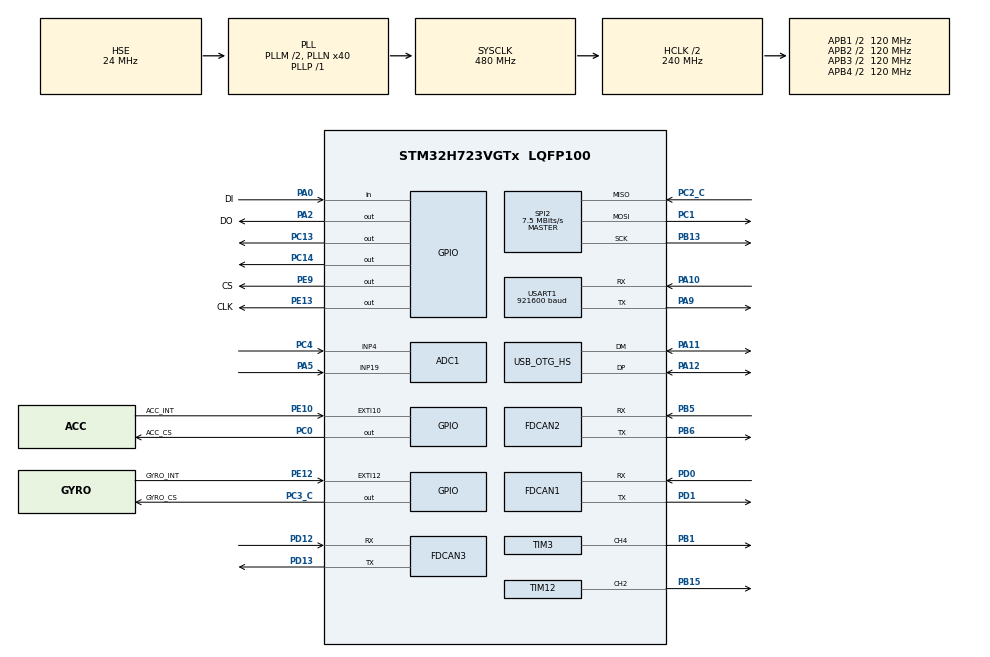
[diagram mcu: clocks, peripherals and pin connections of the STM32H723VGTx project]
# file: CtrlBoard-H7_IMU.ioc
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ADC1.Channel-0\#ChannelRegularConversion=ADC_CHANNEL_4
ADC1.Channel-1\#ChannelRegularConversion=ADC_CHANNEL_4
ADC1.ClockPrescaler=ADC_CLOCK_ASYNC_DIV64
ADC1.ContinuousConvMode=ENABLE
ADC1.ConversionDataManagement=ADC_CONVERSIONDATA_DMA_CIRCULAR
ADC1.NbrOfConversion=2
ADC1.NbrOfConversionFlag=1
ADC1.OffsetNumber-0\#ChannelRegularConversion=ADC_OFFSET_NONE
ADC1.OffsetNumber-1\#ChannelRegularConversion=ADC_OFFSET_NONE
ADC1.OffsetSignedSaturation-0\#ChannelRegularConversion=DISABLE
ADC1.OffsetSignedSaturation-1\#ChannelRegularConversion=DISABLE
ADC1.Rank-0\#ChannelRegularConversion=1
ADC1.Rank-1\#ChannelRegularConversion=2
ADC1.SamplingTime-0\#ChannelRegularConversion=ADC_SAMPLETIME_1CYCLE_5
ADC1.SamplingTime-1\#ChannelRegularConversion=ADC_SAMPLETIME_1CYCLE_5
ADC1.master=1
Dma.ADC1.4.Direction=DMA_PERIPH_TO_MEMORY
Dma.ADC1.4.EventEnable=DISABLE
Dma.ADC1.4.FIFOMode=DMA_FIFOMODE_DISABLE
Dma.ADC1.4.Instance=DMA1_Stream4
Dma.ADC1.4.MemDataAlignment=DMA_MDATAALIGN_HALFWORD
Dma.ADC1.4.MemInc=DMA_MINC_ENABLE
Dma.ADC1.4.Mode=DMA_CIRCULAR
Dma.ADC1.4.PeriphDataAlignment=DMA_PDATAALIGN_HALFWORD
Dma.ADC1.4.PeriphInc=DMA_PINC_DISABLE
Dma.ADC1.4.Polarity=HAL_DMAMUX_REQ_GEN_RISING
Dma.ADC1.4.Priority=DMA_PRIORITY_LOW
Dma.ADC1.4.RequestNumber=1
Dma.ADC1.4.SignalID=NONE
Dma.ADC1.4.SyncEnable=DISABLE
Dma.ADC1.4.SyncPolarity=HAL_DMAMUX_SYNC_NO_EVENT
Dma.ADC1.4.SyncRequestNumber=1
Dma.ADC1.4.SyncSignalID=NONE
Dma.Request0=SPI2_RX
Dma.Request1=SPI2_TX
Dma.Request2=USART1_RX
Dma.Request3=USART1_TX
Dma.Request4=ADC1
Dma.SPI2_RX.0.Direction=DMA_PERIPH_TO_MEMORY
Dma.SPI2_RX.0.EventEnable=DISABLE
Dma.SPI2_RX.0.FIFOMode=DMA_FIFOMODE_DISABLE
Dma.SPI2_RX.0.Instance=DMA1_Stream0
Dma.SPI2_RX.0.MemDataAlignment=DMA_MDATAALIGN_BYTE
Dma.SPI2_RX.0.MemInc=DMA_MINC_ENABLE
Dma.SPI2_RX.0.Mode=DMA_NORMAL
Dma.SPI2_RX.0.PeriphDataAlignment=DMA_PDATAALIGN_BYTE
Dma.SPI2_RX.0.PeriphInc=DMA_PINC_DISABLE
Dma.SPI2_RX.0.Polarity=HAL_DMAMUX_REQ_GEN_RISING
Dma.SPI2_RX.0.Priority=DMA_PRIORITY_VERY_HIGH
Dma.SPI2_RX.0.RequestNumber=1
Dma.SPI2_RX.0.SignalID=NONE
Dma.SPI2_RX.0.SyncEnable=DISABLE
Dma.SPI2_RX.0.SyncPolarity=HAL_DMAMUX_SYNC_NO_EVENT
Dma.SPI2_RX.0.SyncRequestNumber=1
Dma.SPI2_RX.0.SyncSignalID=NONE
Dma.SPI2_TX.1.Direction=DMA_MEMORY_TO_PERIPH
Dma.SPI2_TX.1.EventEnable=DISABLE
Dma.SPI2_TX.1.FIFOMode=DMA_FIFOMODE_DISABLE
Dma.SPI2_TX.1.Instance=DMA1_Stream1
Dma.SPI2_TX.1.MemDataAlignment=DMA_MDATAALIGN_BYTE
Dma.SPI2_TX.1.MemInc=DMA_MINC_ENABLE
Dma.SPI2_TX.1.Mode=DMA_NORMAL
Dma.SPI2_TX.1.PeriphDataAlignment=DMA_PDATAALIGN_BYTE
Dma.SPI2_TX.1.PeriphInc=DMA_PINC_DISABLE
Dma.SPI2_TX.1.Polarity=HAL_DMAMUX_REQ_GEN_RISING
Dma.SPI2_TX.1.Priority=DMA_PRIORITY_HIGH
Dma.SPI2_TX.1.RequestNumber=1
Dma.SPI2_TX.1.SignalID=NONE
Dma.SPI2_TX.1.SyncEnable=DISABLE
Dma.SPI2_TX.1.SyncPolarity=HAL_DMAMUX_SYNC_NO_EVENT
Dma.SPI2_TX.1.SyncRequestNumber=1
Dma.SPI2_TX.1.SyncSignalID=NONE
Dma.USART1_RX.2.Direction=DMA_PERIPH_TO_MEMORY
Dma.USART1_RX.2.EventEnable=DISABLE
Dma.USART1_RX.2.FIFOMode=DMA_FIFOMODE_DISABLE
Dma.USART1_RX.2.Instance=DMA1_Stream2
Dma.USART1_RX.2.MemDataAlignment=DMA_MDATAALIGN_BYTE
Dma.USART1_RX.2.MemInc=DMA_MINC_ENABLE
Dma.USART1_RX.2.Mode=DMA_NORMAL
Dma.USART1_RX.2.PeriphDataAlignment=DMA_PDATAALIGN_BYTE
Dma.USART1_RX.2.PeriphInc=DMA_PINC_DISABLE
Dma.USART1_RX.2.Polarity=HAL_DMAMUX_REQ_GEN_RISING
Dma.USART1_RX.2.Priority=DMA_PRIORITY_LOW
Dma.USART1_RX.2.RequestNumber=1
Dma.USART1_RX.2.SignalID=NONE
Dma.USART1_RX.2.SyncEnable=DISABLE
Dma.USART1_RX.2.SyncPolarity=HAL_DMAMUX_SYNC_NO_EVENT
Dma.USART1_RX.2.SyncRequestNumber=1
Dma.USART1_RX.2.SyncSignalID=NONE
Dma.USART1_TX.3.Direction=DMA_MEMORY_TO_PERIPH
Dma.USART1_TX.3.EventEnable=DISABLE
Dma.USART1_TX.3.FIFOMode=DMA_FIFOMODE_DISABLE
Dma.USART1_TX.3.Instance=DMA1_Stream3
Dma.USART1_TX.3.MemDataAlignment=DMA_MDATAALIGN_BYTE
Dma.USART1_TX.3.MemInc=DMA_MINC_ENABLE
Dma.USART1_TX.3.Mode=DMA_NORMAL
Dma.USART1_TX.3.PeriphDataAlignment=DMA_PDATAALIGN_BYTE
Dma.USART1_TX.3.PeriphInc=DMA_PINC_DISABLE
Dma.USART1_TX.3.Polarity=HAL_DMAMUX_REQ_GEN_RISING
Dma.USART1_TX.3.Priority=DMA_PRIORITY_LOW
Dma.USART1_TX.3.RequestNumber=1
Dma.USART1_TX.3.SignalID=NONE
Dma.USART1_TX.3.SyncEnable=DISABLE
Dma.USART1_TX.3.SyncPolarity=HAL_DMAMUX_SYNC_NO_EVENT
Dma.USART1_TX.3.SyncRequestNumber=1
Dma.USART1_TX.3.SyncSignalID=NONE
FDCAN1.AutoRetransmission=ENABLE
FDCAN1.CalculateBaudRateNominal=1000000
FDCAN1.CalculateTimeBitNominal=1000
FDCAN1.CalculateTimeQuantumNominal=12.5
FDCAN1.DataSyncJumpWidth=2
FDCAN1.DataTimeSeg1=13
FDCAN1.DataTimeSeg2=2
FDCAN1.ExtFiltersNbr=4
FDCAN1.FrameFormat=FDCAN_FRAME_FD_BRS
FDCAN1.NominalPrescaler=1
FDCAN1.NominalSyncJumpWidth=20
FDCAN1.NominalTimeSeg1=59
FDCAN1.NominalTimeSeg2=20
FDCAN1.ProtocolException=ENABLE
FDCAN1.RxFifo0ElmtsNbr=10
FDCAN1.StdFiltersNbr=4
FDCAN1.TxBuffersNbr=1
FDCAN1.TxFifoQueueElmtsNbr=31
FDCAN2.AutoRetransmission=ENABLE
FDCAN2.CalculateBaudRateNominal=1000000
FDCAN2.CalculateTimeBitNominal=1000
FDCAN2.CalculateTimeQuantumNominal=12.5
FDCAN2.DataSyncJumpWidth=2
FDCAN2.DataTimeSeg1=13
FDCAN2.DataTimeSeg2=2
FDCAN2.ExtFiltersNbr=5
FDCAN2.FrameFormat=FDCAN_FRAME_FD_BRS
FDCAN2.MessageRAMOffset=854
FDCAN2.NominalPrescaler=1
FDCAN2.NominalSyncJumpWidth=20
FDCAN2.NominalTimeSeg1=59
FDCAN2.NominalTimeSeg2=20
FDCAN2.ProtocolException=ENABLE
FDCAN2.RxFifo1ElmtsNbr=10
FDCAN2.StdFiltersNbr=5
FDCAN2.TxBuffersNbr=1
FDCAN2.TxFifoQueueElmtsNbr=31
FDCAN3.AutoRetransmission=ENABLE
FDCAN3.CalculateBaudRateNominal=1000000
FDCAN3.CalculateTimeBitNominal=1000
FDCAN3.CalculateTimeQuantumNominal=12.5
FDCAN3.DataPrescaler=1
FDCAN3.DataSyncJumpWidth=2
FDCAN3.DataTimeSeg1=13
FDCAN3.DataTimeSeg2=2
FDCAN3.ExtFiltersNbr=5
FDCAN3.FrameFormat=FDCAN_FRAME_FD_BRS
FDCAN3.MessageRAMOffset=1709
FDCAN3.NominalPrescaler=1
FDCAN3.NominalSyncJumpWidth=20
FDCAN3.NominalTimeSeg1=59
FDCAN3.NominalTimeSeg2=20
FDCAN3.ProtocolException=ENABLE
FDCAN3.RxFifo0ElmtsNbr=10
FDCAN3.StdFiltersNbr=5
FDCAN3.TxBuffersNbr=1
FDCAN3.TxFifoQueueElmtsNbr=31
FREERTOS.MEMORY_ALLOCATION=0
FREERTOS.Tasks01=defaultTask,0,128,StartDefaultTask,Default,NULL,Dynamic,NULL,NULL;CHASSISR_TASK,2,512,ChassisR_Task,Default,NULL,Dynamic,NULL,NULL;CHASSISL_TASK,2,512,ChassisL_Task,Default,NULL,Dynamic,NULL,NULL;CONNECT_TASK,2,512,CONNECT_Task,Default,NULL,Dynamic,NULL,NULL;BODY_TASK,1,512,Body_Task,Default,NULL,Dynamic,NULL,NULL;VBUS_CHECK_TASK,0,128,VBUS_CheckTask,Default,NULL,Dynamic,NULL,NULL
FREERTOS.configENABLE_FPU=1
FREERTOS.configTOTAL_HEAP_SIZE=30720
FREERTOS.configUSE_NEWLIB_REENTRANT=1
Mcu.Family=STM32H7
Mcu.Name=STM32H723VGTx
Mcu.Package=LQFP100
NVIC.DMA1_Stream0_IRQn=true\:6\:0\:true\:false\:true\:true\:false\:true\:true
NVIC.DMA1_Stream1_IRQn=true\:6\:0\:true\:false\:true\:true\:false\:true\:true
NVIC.DMA1_Stream2_IRQn=true\:5\:0\:false\:false\:true\:true\:false\:true\:true
NVIC.DMA1_Stream3_IRQn=true\:5\:0\:false\:false\:true\:true\:false\:true\:true
NVIC.DMA1_Stream4_IRQn=true\:5\:0\:false\:false\:true\:true\:false\:true\:true
NVIC.FDCAN1_IT0_IRQn=true\:5\:0\:false\:false\:true\:true\:true\:true\:true
NVIC.FDCAN2_IT0_IRQn=true\:5\:0\:false\:false\:true\:true\:true\:true\:true
NVIC.FDCAN3_IT0_IRQn=true\:5\:0\:false\:false\:true\:true\:true\:true\:true
NVIC.OTG_HS_IRQn=true\:5\:0\:false\:false\:true\:true\:false\:true\:true
NVIC.PriorityGroup=NVIC_PRIORITYGROUP_4
NVIC.SPI2_IRQn=true\:5\:0\:true\:false\:true\:true\:false\:true\:true
NVIC.TIM2_IRQn=true\:15\:0\:false\:false\:true\:false\:false\:true\:true
NVIC.TimeBase=TIM2_IRQn
NVIC.TimeBaseIP=TIM2
NVIC.USART1_IRQn=true\:7\:0\:true\:false\:true\:true\:true\:true\:true
PA0.GPIO_Label=DI
PA0.GPIO_PuPd=GPIO_PULLUP
PA0.Signal=GPIO_Input
PA10.Mode=Asynchronous
PA10.Signal=USART1_RX
PA11.Mode=Device_Only_FS
PA11.Signal=USB_OTG_HS_DM
PA12.Mode=Device_Only_FS
PA12.Signal=USB_OTG_HS_DP
PA13(JTMS/SWDIO).Mode=Serial_Wire
PA13(JTMS/SWDIO).Signal=DEBUG_JTMS-SWDIO
PA14(JTCK/SWCLK).Mode=Serial_Wire
PA14(JTCK/SWCLK).Signal=DEBUG_JTCK-SWCLK
PA2.GPIO_Label=DO
PA2.GPIO_PuPd=GPIO_PULLUP
PA2.GPIO_Speed=GPIO_SPEED_FREQ_VERY_HIGH
PA2.PinState=GPIO_PIN_SET
PA2.Signal=GPIO_Output
PA5.Signal=ADCx_INP19
PA9.Mode=Asynchronous
PA9.Signal=USART1_TX
PB1.Signal=S_TIM3_CH4
PB13.GPIO_Speed=GPIO_SPEED_FREQ_VERY_HIGH
PB13.Mode=Full_Duplex_Master
PB13.Signal=SPI2_SCK
PB15.Signal=S_TIM12_CH2
PB5.Mode=FDCAN_Activate
PB5.Signal=FDCAN2_RX
PB6.Mode=FDCAN_Activate
PB6.Signal=FDCAN2_TX
PC0.GPIO_Label=ACC_CS
PC0.GPIO_Speed=GPIO_SPEED_FREQ_VERY_HIGH
PC0.PinState=GPIO_PIN_SET
PC0.Signal=GPIO_Output
PC1.GPIO_Speed=GPIO_SPEED_FREQ_VERY_HIGH
PC1.Mode=Full_Duplex_Master
PC1.Signal=SPI2_MOSI
PC13.Signal=GPIO_Output
PC14-OSC32_IN.Signal=GPIO_Output
PC2_C.GPIO_Speed=GPIO_SPEED_FREQ_VERY_HIGH
PC2_C.Mode=Full_Duplex_Master
PC2_C.Signal=SPI2_MISO
PC3_C.GPIO_Label=GYRO_CS
PC3_C.GPIO_Speed=GPIO_SPEED_FREQ_VERY_HIGH
PC3_C.PinState=GPIO_PIN_SET
PC3_C.Signal=GPIO_Output
PC4.Signal=ADCx_INP4
PD0.Mode=FDCAN_Activate
PD0.Signal=FDCAN1_RX
PD1.Mode=FDCAN_Activate
PD1.Signal=FDCAN1_TX
PD12.Mode=FDCAN_Activate
PD12.Signal=FDCAN3_RX
PD13.Mode=FDCAN_Activate
PD13.Signal=FDCAN3_TX
PE10.GPIO_Label=ACC_INT
PE10.Signal=GPXTI10
PE12.GPIO_Label=GYRO_INT
PE12.Signal=GPXTI12
PE13.GPIO_Label=CLK
PE13.GPIO_PuPd=GPIO_PULLUP
PE13.GPIO_Speed=GPIO_SPEED_FREQ_VERY_HIGH
PE13.PinState=GPIO_PIN_SET
PE13.Signal=GPIO_Output
PE9.GPIO_Label=CS
PE9.GPIO_PuPd=GPIO_PULLUP
PE9.GPIO_Speed=GPIO_SPEED_FREQ_VERY_HIGH
PE9.PinState=GPIO_PIN_SET
PE9.Signal=GPIO_Output
PH0-OSC_IN.Mode=HSE-External-Oscillator
PH0-OSC_IN.Signal=RCC_OSC_IN
PH1-OSC_OUT.Mode=HSE-External-Oscillator
PH1-OSC_OUT.Signal=RCC_OSC_OUT
ProjectManager.HeapSize=0x200
ProjectManager.StackSize=0x800
ProjectManager.TargetToolchain=STM32CubeIDE
RCC.ADCCLockSelection=RCC_ADCCLKSOURCE_PLL3
RCC.ADCFreq_Value=100000000
RCC.APB1Freq_Value=120000000
RCC.APB2Freq_Value=120000000
RCC.APB3Freq_Value=120000000
RCC.APB4Freq_Value=120000000
RCC.CortexFreq_Value=480000000
RCC.D1PPRE=RCC_APB3_DIV2
RCC.D2PPRE1=RCC_APB1_DIV2
RCC.D2PPRE2=RCC_APB2_DIV2
RCC.D3PPRE=RCC_APB4_DIV2
RCC.DIVM1=2
RCC.DIVM2=2
RCC.DIVM3=2
RCC.DIVN1=40
RCC.DIVN2=40
RCC.DIVN3=25
RCC.DIVP1=1
RCC.DIVQ2=6
RCC.DIVQ3=1
RCC.DIVR3=3
RCC.FDCANCLockSelection=RCC_FDCANCLKSOURCE_PLL2
RCC.HCLKFreq_Value=240000000
RCC.HPRE=RCC_HCLK_DIV2
RCC.HSE_VALUE=24000000
RCC.PLL2FRACN=0
RCC.PLL3FRACN=0
RCC.PLLFRACN=0
RCC.PLLSourceVirtual=RCC_PLLSOURCE_HSE
RCC.SYSCLKFreq_VALUE=480000000
RCC.SYSCLKSource=RCC_SYSCLKSOURCE_PLLCLK
RCC.USBCLockSelection=RCC_USBCLKSOURCE_HSI48
RCC.USBFreq_Value=48000000
SH.ADCx_INP19.0=ADC1_INP19,IN19-Single-Ended
SH.ADCx_INP4.0=ADC1_INP4,IN4-Single-Ended
SH.S_TIM12_CH2.0=TIM12_CH2,PWM Generation2 CH2
SH.S_TIM3_CH4.0=TIM3_CH4,PWM Generation4 CH4
SPI2.BaudRatePrescaler=SPI_BAUDRATEPRESCALER_32
SPI2.CLKPhase=SPI_PHASE_2EDGE
SPI2.CLKPolarity=SPI_POLARITY_HIGH
SPI2.CalculateBaudRate=7.5 MBits/s
SPI2.DataSize=SPI_DATASIZE_8BIT
SPI2.Direction=SPI_DIRECTION_2LINES
SPI2.Mode=SPI_MODE_MASTER
SPI2.VirtualType=VM_MASTER
STMicroelectronics.X-CUBE-ALGOBUILD.1.4.0.LibraryCcDSPOoLibraryJjDSPOoLibrary=true
TIM12.Channel-PWM\ Generation2\ CH2=TIM_CHANNEL_2
TIM12.Period=2000-1
TIM12.Prescaler=24-1
TIM12.Pulse-PWM\ Generation2\ CH2=1000
TIM3.AutoReloadPreload=TIM_AUTORELOAD_PRELOAD_ENABLE
TIM3.Channel-PWM\ Generation4\ CH4=TIM_CHANNEL_4
TIM3.Period=10000-1
TIM3.Prescaler=24-1
USART1.BaudRate=921600
USART1.VirtualMode-Asynchronous=VM_ASYNC
USB_DEVICE.CLASS_NAME_HS=CDC
USB_DEVICE.VirtualMode=Cdc
USB_DEVICE.VirtualModeHS=Cdc_HS
USB_OTG_HS.VirtualMode-Device_Only_FS=Device_Only_FS
VP_FREERTOS_VS_CMSIS_V1.Mode=CMSIS_V1
VP_MEMORYMAP_VS_MEMORYMAP.Mode=CurAppReg
VP_STMicroelectronics.X-CUBE-ALGOBUILD_VS_DSPOoLibraryJjLibrary_1.4.0_1.4.0.Mode=DSPOoLibraryJjLibrary
VP_SYS_VS_tim2.Mode=TIM2
VP_USB_DEVICE_VS_USB_DEVICE_CDC_HS.Mode=CDC_HS
board=custom

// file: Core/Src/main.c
/* USER CODE BEGIN Header */
/**
 ******************************************************************************
 * @file           : main.c
 * @brief          : Main program body
 ******************************************************************************
 * @attention
 *
 * Copyright (c) 2026 STMicroelectronics.
 * All rights reserved.
 *
 * This software is licensed under terms that can be found in the LICENSE file
 * in the root directory of this software component.
 * If no LICENSE file comes with this software, it is provided AS-IS.
 *
 ******************************************************************************
 */
/* USER CODE END Header */
#include "main.h"
#include "adc.h"
#include "cmsis_os.h"
#include "dma.h"
#include "fdcan.h"
#include "gpio.h"
#include "spi.h"
#include "tim.h"
#include "usart.h"
#include "usb_device.h"

/* USER CODE BEGIN Includes */
#include "BMI088Middleware.h"
#include "BMI088driver.h"
#include "bsp_buzzer.h"
#include "bsp_dwt.h"
#include "bsp_usart1.h"
#include "can_bsp.h"
#include "kalman_filter.h"
#include "mahony_filter.h"
#include "protocol_task.h"

extern rev_data_t rev_data;
/* USER CODE END Includes */

void SystemClock_Config(void);
void PeriphCommonClock_Config(void);
void MX_FREERTOS_Init(void);

int main(void) {

  /* MCU Configuration--------------------------------------------------------*/

  /* Reset of all peripherals, Initializes the Flash interface and the Systick.
   */
  HAL_Init();

  /* Configure the system clock */
  SystemClock_Config();

  /* Configure the peripherals common clocks */
  PeriphCommonClock_Config();

  /* Initialize all configured peripherals */
  MX_GPIO_Init();
  MX_DMA_Init();
  MX_SPI2_Init();
  MX_TIM3_Init();
  MX_FDCAN3_Init();
  MX_USART1_UART_Init();
  MX_FDCAN1_Init();
  MX_FDCAN2_Init();
  MX_ADC1_Init();
  MX_TIM12_Init();
  /* USER CODE BEGIN 2 */
  Buzzer_OFF;
  Buzzer_Play_Startup_Music();
  DWT_Init(480);
  HAL_TIM_Base_Start_IT(&htim3);

  Power_OUT1_ON;
  Power_OUT2_ON;

  FDCAN1_Config();
  FDCAN2_Config();

  // USB TX queue for motor feedback buffering
  // Total memory: 32 × 1028 bytes ≈ 33KB
  usb_tx_queue = xQueueCreate(64, sizeof(usb_msg_t));
  // RX queue removed - process directly in USB callback to save 33KB RAM
  /* USER CODE END 2 */

  /* Call init function for freertos objects (in cmsis_os2.c) */
  MX_FREERTOS_Init();

  /* Start scheduler */
  osKernelStart();

  /* We should never get here as control is now taken by the scheduler */

  /* Infinite loop */
  while (1) {

  }
}

void SystemClock_Config(void) {
  RCC_OscInitTypeDef RCC_OscInitStruct = {0};
  RCC_ClkInitTypeDef RCC_ClkInitStruct = {0};

  /** Supply configuration update enable
   */
  HAL_PWREx_ConfigSupply(PWR_LDO_SUPPLY);

  /** Configure the main internal regulator output voltage
   */
  __HAL_PWR_VOLTAGESCALING_CONFIG(PWR_REGULATOR_VOLTAGE_SCALE0);

  while (!__HAL_PWR_GET_FLAG(PWR_FLAG_VOSRDY)) {
  }

  /** Initializes the RCC Oscillators according to the specified parameters
   * in the RCC_OscInitTypeDef structure.
   */
  RCC_OscInitStruct.OscillatorType =
      RCC_OSCILLATORTYPE_HSI48 | RCC_OSCILLATORTYPE_HSE;
  RCC_OscInitStruct.HSEState = RCC_HSE_ON;
  RCC_OscInitStruct.HSI48State = RCC_HSI48_ON;
  RCC_OscInitStruct.PLL.PLLState = RCC_PLL_ON;
  RCC_OscInitStruct.PLL.PLLSource = RCC_PLLSOURCE_HSE;
  RCC_OscInitStruct.PLL.PLLM = 2;
  RCC_OscInitStruct.PLL.PLLN = 40;
  RCC_OscInitStruct.PLL.PLLP = 1;
  RCC_OscInitStruct.PLL.PLLQ = 2;
  RCC_OscInitStruct.PLL.PLLR = 2;
  RCC_OscInitStruct.PLL.PLLRGE = RCC_PLL1VCIRANGE_3;
  RCC_OscInitStruct.PLL.PLLVCOSEL = RCC_PLL1VCOWIDE;
  RCC_OscInitStruct.PLL.PLLFRACN = 0;
  if (HAL_RCC_OscConfig(&RCC_OscInitStruct) != HAL_OK) {
    Error_Handler();
  }

  /** Initializes the CPU, AHB and APB buses clocks
   */
  RCC_ClkInitStruct.ClockType = RCC_CLOCKTYPE_HCLK | RCC_CLOCKTYPE_SYSCLK |
                                RCC_CLOCKTYPE_PCLK1 | RCC_CLOCKTYPE_PCLK2 |
                                RCC_CLOCKTYPE_D3PCLK1 | RCC_CLOCKTYPE_D1PCLK1;
  RCC_ClkInitStruct.SYSCLKSource = RCC_SYSCLKSOURCE_PLLCLK;
  RCC_ClkInitStruct.SYSCLKDivider = RCC_SYSCLK_DIV1;
  RCC_ClkInitStruct.AHBCLKDivider = RCC_HCLK_DIV2;
  RCC_ClkInitStruct.APB3CLKDivider = RCC_APB3_DIV2;
  RCC_ClkInitStruct.APB1CLKDivider = RCC_APB1_DIV2;
  RCC_ClkInitStruct.APB2CLKDivider = RCC_APB2_DIV2;
  RCC_ClkInitStruct.APB4CLKDivider = RCC_APB4_DIV2;

  if (HAL_RCC_ClockConfig(&RCC_ClkInitStruct, FLASH_LATENCY_3) != HAL_OK) {
    Error_Handler();
  }
}

void PeriphCommonClock_Config(void) {
  RCC_PeriphCLKInitTypeDef PeriphClkInitStruct = {0};

  /** Initializes the peripherals clock
   */
  PeriphClkInitStruct.PeriphClockSelection = RCC_PERIPHCLK_FDCAN;
  PeriphClkInitStruct.PLL2.PLL2M = 2;
  PeriphClkInitStruct.PLL2.PLL2N = 40;
  PeriphClkInitStruct.PLL2.PLL2P = 2;
  PeriphClkInitStruct.PLL2.PLL2Q = 6;
  PeriphClkInitStruct.PLL2.PLL2R = 2;
  PeriphClkInitStruct.PLL2.PLL2RGE = RCC_PLL2VCIRANGE_3;
  PeriphClkInitStruct.PLL2.PLL2VCOSEL = RCC_PLL2VCOWIDE;
  PeriphClkInitStruct.PLL2.PLL2FRACN = 0;
  PeriphClkInitStruct.FdcanClockSelection = RCC_FDCANCLKSOURCE_PLL2;
  if (HAL_RCCEx_PeriphCLKConfig(&PeriphClkInitStruct) != HAL_OK) {
    Error_Handler();
  }
}

void HAL_TIM_PeriodElapsedCallback(TIM_HandleTypeDef *htim) {
  if (htim->Instance == TIM2) {
    HAL_IncTick();
  }
}

void Error_Handler(void) {
  __disable_irq();
  while (1) {
  }
}
#ifdef USE_FULL_ASSERT
/**
 * @brief  Reports the name of the source file and the source line number
 *         where the assert_param error has occurred.
 * @param  file: pointer to the source file name
 * @param  line: assert_param error line source number
 * @retval None
 */
void assert_failed(uint8_t *file, uint32_t line) {
  /* USER CODE BEGIN 6 */
  /* User can add his own implementation to report the file name and line
     number, ex: printf("Wrong parameters value: file %s on line %d\r\n", file,
     line) */
  /* USER CODE END 6 */
}
#endif /* USE_FULL_ASSERT */

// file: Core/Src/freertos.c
/* USER CODE BEGIN Header */
/**
 ******************************************************************************
 * File Name          : freertos.c
 * Description        : Code for freertos applications
 ******************************************************************************
 * @attention
 *
 * Copyright (c) 2026 STMicroelectronics.
 * All rights reserved.
 *
 * This software is licensed under terms that can be found in the LICENSE file
 * in the root directory of this software component.
 * If no LICENSE file comes with this software, it is provided AS-IS.
 *
 ******************************************************************************
 */
/* USER CODE END Header */

#include "FreeRTOS.h"
#include "cmsis_os.h"
#include "main.h"
#include "task.h"

/* USER CODE BEGIN Includes */
#include "INS_task.h"
#include "body_task.h"
#include "chassisL_task.h"
#include "chassisR_task.h"
#include "protocol_task.h"
#include "vbus_check.h"
/* USER CODE END Includes */

/* USER CODE BEGIN Variables */
osThreadId defaultTaskHandle;
osThreadId CHASSISR_TASKHandle;
osThreadId CHASSISL_TASKHandle;
osThreadId BODY_TASKHandle;
osThreadId VBUS_CHECK_TASKHandle;
osThreadId PROTOCOL_TASKHandle;
osThreadId USB_TX_TASKHandle;
osThreadId INS_TASKHandle;
/* USER CODE END Variables */

/* USER CODE BEGIN FunctionPrototypes */
void StartDefaultTask(void const *argument);
void ChassisR_Task(void const *argument);
void ChassisL_Task(void const *argument);
void Body_Task(void const *argument);
void VBUS_CheckTask(void const *argument);
void Protocol_task(void const *argument);
void USB_Tx_task(void const *argument);
void INS_Task(void const *argument);
/* USER CODE END FunctionPrototypes */

extern void MX_USB_DEVICE_Init(void);
void MX_FREERTOS_Init(void); /* (MISRA C 2004 rule 8.1) */

void MX_FREERTOS_Init(void) {

  /* USER CODE BEGIN RTOS_QUEUES */
  /* 队列已经由你在 main.c 中安全建立 */
  /* USER CODE END RTOS_QUEUES */

  /* Create the thread(s) */
  /* definition and creation of defaultTask */
  osThreadDef(defaultTask, StartDefaultTask, osPriorityNormal, 0, 128);
  defaultTaskHandle = osThreadCreate(osThread(defaultTask), NULL);

  /* definition and creation of CHASSISR_TASK */
  osThreadDef(CHASSISR_TASK, ChassisR_Task, osPriorityHigh, 0, 1024);
  CHASSISR_TASKHandle = osThreadCreate(osThread(CHASSISR_TASK), NULL);

  /* definition and creation of CHASSISL_TASK */
  osThreadDef(CHASSISL_TASK, ChassisL_Task, osPriorityHigh, 0, 1024);
  CHASSISL_TASKHandle = osThreadCreate(osThread(CHASSISL_TASK), NULL);

  /* definition and creation of BODY_TASK */
  // osThreadDef(BODY_TASK, Body_Task, osPriorityAboveNormal, 0, 512);
  // BODY_TASKHandle = osThreadCreate(osThread(BODY_TASK), NULL);

  /* definition and creation of VBUS_CHECK_TASK */
  osThreadDef(VBUS_CHECK_TASK, VBUS_CheckTask, osPriorityNormal, 0, 128);
  VBUS_CHECK_TASKHandle = osThreadCreate(osThread(VBUS_CHECK_TASK), NULL);

  /* USER CODE BEGIN RTOS_THREADS */
  /* PROTOCOL_TASK for batch sending motor feedback at 100Hz */
  // osThreadDef(PROTOCOL_TASK, Protocol_task, osPriorityHigh, 0,
  //             1024); // Reduced stack
  // PROTOCOL_TASKHandle = osThreadCreate(osThread(PROTOCOL_TASK), NULL);

  /* definition and creation of USB_TX_TASK */
  osThreadDef(USB_TX_TASK, USB_Tx_task, osPriorityRealtime, 0, 4096);
  USB_TX_TASKHandle = osThreadCreate(osThread(USB_TX_TASK), NULL);

  /* definition and creation of INS_TASK */
  osThreadDef(INS_TASK, INS_Task, osPriorityNormal, 0, 1024);
  INS_TASKHandle = osThreadCreate(osThread(INS_TASK), NULL);
  /* USER CODE END RTOS_THREADS */
}

void StartDefaultTask(void const *argument) {
  /* init code for USB_DEVICE */
  MX_USB_DEVICE_Init();
  for (;;) {
    osDelay(1);
  }
}

void ChassisR_Task(void const *argument) {
  /* USER CODE BEGIN ChassisR_Task */
  ChassisR_task();
  /* USER CODE END ChassisR_Task */
}

void ChassisL_Task(void const *argument) {
  /* USER CODE BEGIN ChassisL_Task */
  ChassisL_task();
  /* USER CODE END ChassisL_Task */
}

void Body_Task(void const *argument) {
  /* USER CODE BEGIN Body_Task */
  Body_task();
  /* USER CODE END Body_Task */
}

void VBUS_CheckTask(void const *argument) {
  /* USER CODE BEGIN VBUS_CheckTask */
  VBUS_Check_task();
  /* USER CODE END VBUS_CheckTask */
}

/* USER CODE BEGIN Application */
void Protocol_task(void const *argument) { Protocol_task_entry(argument); }
void USB_Tx_task(void const *argument) { USB_Tx_task_entry(argument); }
void INS_Task(void const *argument) { INS_task(); }
/* USER CODE END Application */
